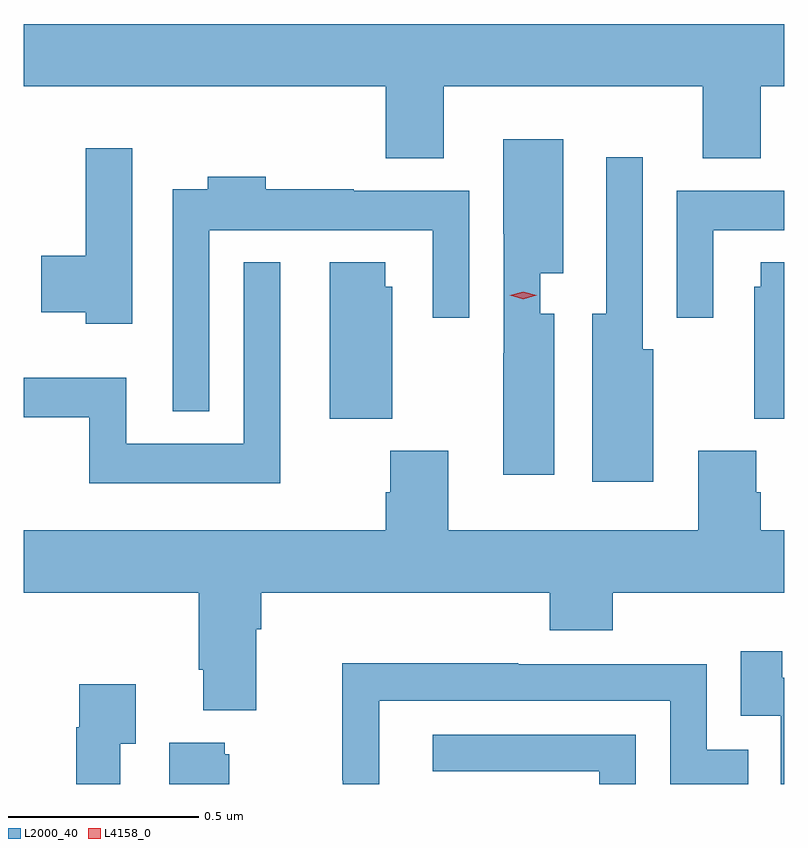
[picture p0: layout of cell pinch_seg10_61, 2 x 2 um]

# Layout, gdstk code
import gdstk
lib = gdstk.Library(unit=1e-6, precision=1e-09)
def P(c, l, *ps):  # polygons
    for p in ps: c.add(gdstk.Polygon(p, *l))
L2000_40 = (2000, 40)
L4158_0 = (4158, 0)

pinch_seg10_61 = lib.new_cell('pinch_seg10_61')
P(pinch_seg10_61, L2000_40, [(840.295,1301.648),(840.977,1301.648),(840.977,1301.459),(841.13,1301.459),(841.13,1301.648),(841.191,1301.648),(841.191,1301.812),(839.191,1301.812),(839.191,1301.648),(840.143,1301.648),(840.143,1301.459),(840.295,1301.459)],
  [(840.586,1301.05),(840.55,1301.05),(840.55,1301.156),(840.61,1301.156),(840.61,1301.509),(840.452,1301.509),(840.452,1301.26),(840.453,1301.26),(840.453,1300.946),(840.452,1300.946),(840.452,1300.626),(840.586,1300.626)],
  [(839.476,1301.485),(839.354,1301.485),(839.354,1301.202),(839.237,1301.202),(839.237,1301.054),(839.354,1301.054),(839.354,1301.024),(839.476,1301.024)],
  [(840.847,1300.956),(840.819,1300.956),(840.819,1301.461),(840.723,1301.461),(840.723,1301.05),(840.686,1301.05),(840.686,1300.608),(840.847,1300.608)],
  [(839.679,1301.27),(840.267,1301.27),(840.267,1301.04),(840.363,1301.04),(840.363,1301.374),(840.059,1301.374),(840.059,1301.377),(839.828,1301.377),(839.828,1301.41),(839.675,1301.41),(839.675,1301.377),(839.583,1301.377),(839.583,1300.793),(839.679,1300.793)],
  [(841.005,1301.27),(841.191,1301.27),(841.191,1301.374),(840.909,1301.374),(840.909,1301.04),(841.005,1301.04)],
  [(841.191,1301.185),(841.13,1301.185),(841.13,1301.121),(841.112,1301.121),(841.112,1300.774),(841.191,1300.774)],
  [(839.866,1301.185),(839.769,1301.185),(839.769,1300.708),(839.46,1300.708),(839.46,1300.882),(839.191,1300.882),(839.191,1300.778),(839.363,1300.778),(839.363,1300.604),(839.866,1300.604)],
  [(840.16,1301.121),(840.142,1301.121),(840.142,1301.185),(839.996,1301.185),(839.996,1300.774),(840.16,1300.774)],
  [(839.803,1300.22),(839.816,1300.22),(839.816,1300.316),(840.575,1300.316),(840.575,1300.217),(840.74,1300.217),(840.74,1300.316),(841.191,1300.316),(841.191,1300.48),(841.13,1300.48),(841.13,1300.58),(841.117,1300.58),(841.117,1300.689),(840.965,1300.689),(840.965,1300.48),(840.308,1300.48),(840.308,1300.689),(840.155,1300.689),(840.155,1300.58),(840.143,1300.58),(840.143,1300.48),(839.191,1300.48),(839.191,1300.316),(839.651,1300.316),(839.651,1300.114),(839.663,1300.114),(839.663,1300.007),(839.803,1300.007)],
  [(841.191,1300.092),(841.186,1300.092),(841.186,1300.162),(841.077,1300.162),(841.077,1299.993),(841.182,1299.993),(841.182,1299.813),(841.191,1299.813)],
  [(840.126,1300.032),(840.891,1300.032),(840.891,1299.813),(841.097,1299.813),(841.097,1299.903),(840.987,1299.903),(840.987,1300.128),(840.491,1300.128),(840.491,1300.13),(840.028,1300.13),(840.028,1299.823),(840.03,1299.823),(840.03,1299.813),(840.126,1299.813)],
  [(839.445,1299.919),(839.485,1299.919),(839.485,1300.075),(839.337,1300.075),(839.337,1299.962),(839.329,1299.962),(839.329,1299.813),(839.445,1299.813)],
  [(840.801,1299.942),(840.267,1299.942),(840.267,1299.846),(840.705,1299.846),(840.705,1299.813),(840.801,1299.813)],
  [(839.731,1299.891),(839.72,1299.891),(839.72,1299.922),(839.573,1299.922),(839.573,1299.813),(839.731,1299.813)])
P(pinch_seg10_61, L4158_0, [(840.505,1301.088),(840.469,1301.098),(840.469,1301.098),(840.469,1301.098),(840.505,1301.108),(840.54,1301.098),(840.54,1301.098),(840.54,1301.098)])

lib.write_gds('pinch_seg10_61.gds')
